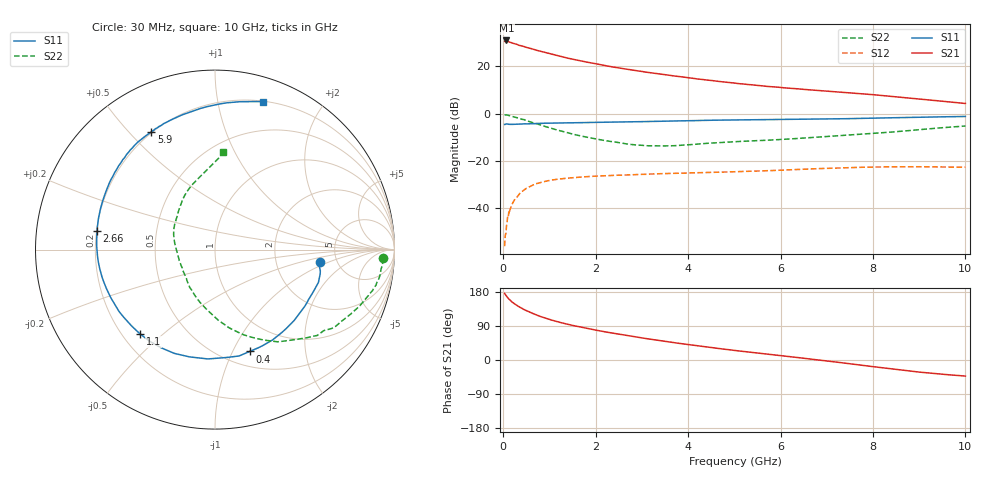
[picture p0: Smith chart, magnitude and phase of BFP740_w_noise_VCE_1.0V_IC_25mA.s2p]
! Infineon Technologies  Discrete & RF Semiconductors
! BFP740
! VCE =  1.0 V,  IC =  25 mA
! Common Emitter S-Parameters:  Jan 2016
# GHz  S  MA  R  50
!  f  S11  S21  S12  S22
! GHz  MAG  ANG  MAG  ANG  MAG  ANG  MAG  ANG
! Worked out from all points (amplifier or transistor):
!   229 points, 30 MHz to 10 GHz, reference 50 ohm
!   highest |S21| = 30.8 dB at 70 MHz (marker M1)
!   |S21| within 3 dB of that: start of sweep to 517 MHz
!   unconditionally stable (mu >= 1): 4.69 GHz to end of sweep
!   at 280 MHz: K = 0.26, MSG = 32.4 dB, |S12| = -35.6 dB
!   at 1.78 GHz: K = 0.54, MSG = 24.2 dB, |S12| = -26.7 dB
!   at 10 GHz: K = 1.14, MAG = 11.1 dB, |S12| = -22.6 dB
!   lowest NFmin = 0.78 dB at 450 MHz
!   S11 on the Smith chart (normalised r, x): 30 MHz: 3.66, -0.79; 400 MHz: 0.66, -1.17; 1.1 GHz: 0.27, -0.42; 2.66 GHz: 0.20, +0.07; 5.9 GHz: 0.20, +0.58; 10 GHz: 0.20, +1.35
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0.03  0.5873 -6.9  33.14 175.6  0.0016 72.8  0.9373 -3.0
0.05  0.5986 -11.4  34.29 172.6  0.0029 67.0  0.9357 -5.6
0.07  0.6029 -15.5  34.63 168.7  0.0042 67.6  0.9312 -7.7
0.11  0.5943 -24.4  32.84 162.4  0.0066 73.2  0.9184 -12.5
0.2  0.592 -41.7  30.46 152.1  0.0127 71.9  0.8656 -21.2
0.3  0.5968 -57.5  28.54 143.5  0.0174 65.5  0.8126 -29.1
0.4  0.5995 -71.2  26.6 136.7  0.0225 60.6  0.7556 -36.7
0.45  0.6076 -77.2  25.79 133.0  0.0244 59.4  0.7441 -40.0
0.6  0.6105 -93.7  23.43 124.8  0.0298 51.6  0.6594 -50.0
0.7  0.6144 -103.4  21.77 119.7  0.0329 47.8  0.6203 -55.9
0.9  0.624 -118.8  19.44 110.8  0.037 41.3  0.5357 -66.5
1.1  0.6285 -131.6  17.29 103.4  0.0403 35.8  0.468 -75.9
1.4  0.6362 -147.2  14.64 94.0  0.0435 30.5  0.3922 -87.6
1.7  0.6423 -159.6  12.72 86.1  0.046 26.1  0.3326 -98.8
2.2  0.6555 -176.5  10.22 74.3  0.0487 21.3  0.2691 -117.0
2.66  0.6653 171.1  8.629 64.9  0.0506 17.8  0.2295 -133.3
3.4  0.6848 154.3  6.802 51.0  0.0539 13.7  0.2084 -162.5
5.1  0.7354 126.5  4.259 23.9  0.0596 6.6  0.2572 152.7
5.9  0.7467 118.3  3.597 13.0  0.0633 4.0  0.2796 139.4
6.8  0.7629 108.7  3.077 0.4  0.0688 -0.7  0.3175 126.5
8.4  0.8128 87.9  2.297 -23.5  0.0753 -12.3  0.406 103.5
10  0.8664 72.2  1.626 -42.4  0.074 -21.5  0.5445 85.1
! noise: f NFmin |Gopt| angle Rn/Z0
0.45  0.78  0.07  178  0.26
0.9  0.79  0.08  -174  0.26
1.5  0.81  0.08  -169  0.25
1.9  0.82  0.09  -163  0.24
2.4  0.85  0.09  -156  0.23
3.5  0.95  0.1  -144  0.21
5.5  1.11  0.22  -105  0.19
10  1.46  0.52  -65  0.28
